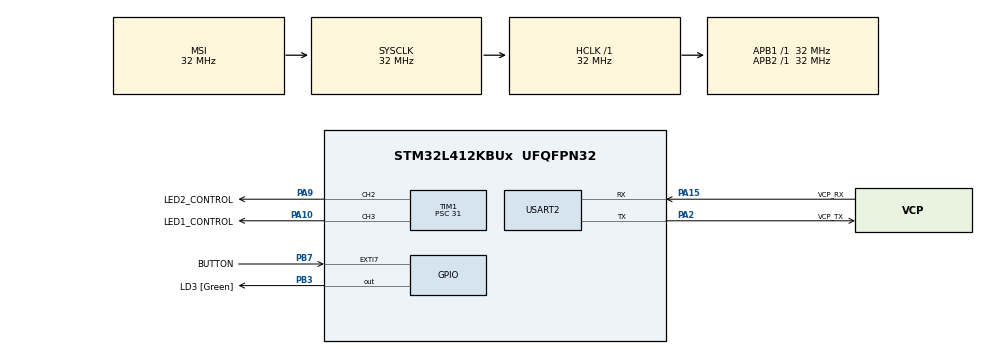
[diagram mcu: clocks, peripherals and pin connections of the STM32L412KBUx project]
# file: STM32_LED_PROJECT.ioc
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Mcu.Family=STM32L4
Mcu.Name=STM32L412KBUx
Mcu.Package=UFQFPN32
NVIC.EXTI9_5_IRQn=true\:0\:0\:false\:false\:true\:true\:true\:true
NVIC.PriorityGroup=NVIC_PRIORITYGROUP_4
NVIC.TIM1_UP_TIM16_IRQn=true\:0\:0\:false\:false\:true\:true\:true\:true
PA10.GPIO_Label=LED1_CONTROL
PA10.Signal=S_TIM1_CH3
PA13\ (JTMS/SWDIO).GPIO_Label=SWDIO
PA13\ (JTMS/SWDIO).Signal=SYS_JTMS-SWDIO
PA14\ (JTCK/SWCLK).GPIO_Label=SWCLK
PA14\ (JTCK/SWCLK).Signal=SYS_JTCK-SWCLK
PA15\ (JTDI).GPIO_Label=VCP_RX
PA15\ (JTDI).Mode=Asynchronous
PA15\ (JTDI).Signal=USART2_RX
PA2.GPIO_Label=VCP_TX
PA2.Mode=Asynchronous
PA2.Signal=USART2_TX
PA9.GPIO_Label=LED2_CONTROL
PA9.Signal=S_TIM1_CH2
PB3\ (JTDO/TRACESWO).GPIO_Label=LD3 [Green]
PB3\ (JTDO/TRACESWO).Signal=GPIO_Output
PB7.GPIO_Label=BUTTON
PB7.GPIO_ModeDefaultEXTI=GPIO_MODE_IT_RISING_FALLING
PB7.GPIO_PuPd=GPIO_PULLUP
PB7.Signal=GPXTI7
PC14-OSC32_IN\ (PC14).Signal=RCC_OSC32_IN
PC15-OSC32_OUT\ (PC15).Signal=RCC_OSC32_OUT
ProjectManager.HeapSize=0x200
ProjectManager.StackSize=0x400
ProjectManager.TargetToolchain=STM32CubeIDE
RCC.ADCFreq_Value=32000000
RCC.AHBFreq_Value=32000000
RCC.APB1Freq_Value=32000000
RCC.APB1TimFreq_Value=32000000
RCC.APB2Freq_Value=32000000
RCC.APB2TimFreq_Value=32000000
RCC.CortexFreq_Value=32000000
RCC.FLatency=FLASH_LATENCY_1
RCC.HCLKFreq_Value=32000000
RCC.HSE_VALUE=8000000
RCC.HSI48_VALUE=48000000
RCC.HSICalibrationValue=16
RCC.HSI_VALUE=16000000
RCC.LSE_VALUE=32768
RCC.MSIClockRange=RCC_MSIRANGE_10
RCC.MSI_VALUE=32000000
RCC.SYSCLKFreq_VALUE=32000000
RCC.USBFreq_Value=32000000
RCC.VCOOutputFreq_Value=256000000
SH.S_TIM1_CH2.0=TIM1_CH2,PWM Generation2 CH2
SH.S_TIM1_CH3.0=TIM1_CH3,PWM Generation3 CH3
TIM1.AutoReloadPreload=TIM_AUTORELOAD_PRELOAD_ENABLE
TIM1.Channel-PWM\ Generation2\ CH2=TIM_CHANNEL_2
TIM1.Channel-PWM\ Generation3\ CH3=TIM_CHANNEL_3
TIM1.Period=1000
TIM1.Prescaler=31
USART2.VirtualMode-Asynchronous=VM_ASYNC
VP_TIM1_VS_ClockSourceINT.Mode=Internal
board=NUCLEO-L412KB

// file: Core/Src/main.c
/* USER CODE BEGIN Header */
/**
  ******************************************************************************
  * @file           : main.c
  * @brief          : Main program body
  ******************************************************************************
  * @attention
  *
  * Copyright (c) 2021 STMicroelectronics.
  * All rights reserved.
  *
  * This software is licensed under terms that can be found in the LICENSE file
  * in the root directory of this software component.
  * If no LICENSE file comes with this software, it is provided AS-IS.
  *
  ******************************************************************************
  */
/* USER CODE END Header */
#include "main.h"

/* USER CODE BEGIN PTD */
typedef enum{
    TERMINATE = 't',
    FAST = 'f',
    SLOW = 's'
} LED_MODE;
/* USER CODE END PTD */

TIM_HandleTypeDef htim1;

UART_HandleTypeDef huart2;

void SystemClock_Config(void);
static void MX_GPIO_Init(void);
static void MX_TIM1_Init(void);
static void MX_USART2_UART_Init(void);

/* USER CODE BEGIN 0 */
uint16_t timer_value1, timer_value2;
LED_MODE led_mode;
/* USER CODE END 0 */

int main(void)
{

  /* MCU Configuration--------------------------------------------------------*/

  /* Reset of all peripherals, Initializes the Flash interface and the Systick. */
  HAL_Init();

  /* Configure the system clock */
  SystemClock_Config();

  /* Initialize all configured peripherals */
  MX_GPIO_Init();
  MX_TIM1_Init();
  MX_USART2_UART_Init();
  /* USER CODE BEGIN 2 */
  uint8_t text_uart[] = "command received   ";
  uint8_t uart_received_data[10];
  HAL_StatusTypeDef hal_receive_status;
  //	command t - terminate, s - slow, f - fast,
  /* USER CODE END 2 */

  /* Infinite loop */
  /* USER CODE BEGIN WHILE */
  while (1)
  {
	  hal_receive_status = HAL_UART_Receive(&huart2, uart_received_data, 10, 100);
	  if (hal_receive_status == HAL_OK)
	  {
		  led_mode = uart_received_data[8];
		  text_uart[17] = led_mode;
		  HAL_UART_Transmit(&huart2, text_uart, sizeof(text_uart), 100);
	  }
    /* USER CODE END WHILE */

  }
}

void SystemClock_Config(void)
{
  RCC_OscInitTypeDef RCC_OscInitStruct = {0};
  RCC_ClkInitTypeDef RCC_ClkInitStruct = {0};

  /** Configure the main internal regulator output voltage
  */
  if (HAL_PWREx_ControlVoltageScaling(PWR_REGULATOR_VOLTAGE_SCALE1) != HAL_OK)
  {
    Error_Handler();
  }
  /** Initializes the RCC Oscillators according to the specified parameters
  * in the RCC_OscInitTypeDef structure.
  */
  RCC_OscInitStruct.OscillatorType = RCC_OSCILLATORTYPE_MSI;
  RCC_OscInitStruct.MSIState = RCC_MSI_ON;
  RCC_OscInitStruct.MSICalibrationValue = 0;
  RCC_OscInitStruct.MSIClockRange = RCC_MSIRANGE_10;
  RCC_OscInitStruct.PLL.PLLState = RCC_PLL_NONE;
  if (HAL_RCC_OscConfig(&RCC_OscInitStruct) != HAL_OK)
  {
    Error_Handler();
  }
  /** Initializes the CPU, AHB and APB buses clocks
  */
  RCC_ClkInitStruct.ClockType = RCC_CLOCKTYPE_HCLK|RCC_CLOCKTYPE_SYSCLK
                              |RCC_CLOCKTYPE_PCLK1|RCC_CLOCKTYPE_PCLK2;
  RCC_ClkInitStruct.SYSCLKSource = RCC_SYSCLKSOURCE_MSI;
  RCC_ClkInitStruct.AHBCLKDivider = RCC_SYSCLK_DIV1;
  RCC_ClkInitStruct.APB1CLKDivider = RCC_HCLK_DIV1;
  RCC_ClkInitStruct.APB2CLKDivider = RCC_HCLK_DIV1;

  if (HAL_RCC_ClockConfig(&RCC_ClkInitStruct, FLASH_LATENCY_1) != HAL_OK)
  {
    Error_Handler();
  }
}

static void MX_TIM1_Init(void)
{

  TIM_ClockConfigTypeDef sClockSourceConfig = {0};
  TIM_MasterConfigTypeDef sMasterConfig = {0};
  TIM_OC_InitTypeDef sConfigOC = {0};
  TIM_BreakDeadTimeConfigTypeDef sBreakDeadTimeConfig = {0};

  htim1.Instance = TIM1;
  htim1.Init.Prescaler = 31;
  htim1.Init.CounterMode = TIM_COUNTERMODE_UP;
  htim1.Init.Period = 1000;
  htim1.Init.ClockDivision = TIM_CLOCKDIVISION_DIV1;
  htim1.Init.RepetitionCounter = 9;
  htim1.Init.AutoReloadPreload = TIM_AUTORELOAD_PRELOAD_ENABLE;
  if (HAL_TIM_Base_Init(&htim1) != HAL_OK)
  {
    Error_Handler();
  }
  sClockSourceConfig.ClockSource = TIM_CLOCKSOURCE_INTERNAL;
  if (HAL_TIM_ConfigClockSource(&htim1, &sClockSourceConfig) != HAL_OK)
  {
    Error_Handler();
  }
  if (HAL_TIM_PWM_Init(&htim1) != HAL_OK)
  {
    Error_Handler();
  }
  sMasterConfig.MasterOutputTrigger = TIM_TRGO_RESET;
  sMasterConfig.MasterOutputTrigger2 = TIM_TRGO2_RESET;
  sMasterConfig.MasterSlaveMode = TIM_MASTERSLAVEMODE_DISABLE;
  if (HAL_TIMEx_MasterConfigSynchronization(&htim1, &sMasterConfig) != HAL_OK)
  {
    Error_Handler();
  }
  sConfigOC.OCMode = TIM_OCMODE_PWM1;
  sConfigOC.Pulse = 0;
  sConfigOC.OCPolarity = TIM_OCPOLARITY_HIGH;
  sConfigOC.OCNPolarity = TIM_OCNPOLARITY_HIGH;
  sConfigOC.OCFastMode = TIM_OCFAST_DISABLE;
  sConfigOC.OCIdleState = TIM_OCIDLESTATE_RESET;
  sConfigOC.OCNIdleState = TIM_OCNIDLESTATE_RESET;
  if (HAL_TIM_PWM_ConfigChannel(&htim1, &sConfigOC, TIM_CHANNEL_2) != HAL_OK)
  {
    Error_Handler();
  }
  if (HAL_TIM_PWM_ConfigChannel(&htim1, &sConfigOC, TIM_CHANNEL_3) != HAL_OK)
  {
    Error_Handler();
  }
  sBreakDeadTimeConfig.OffStateRunMode = TIM_OSSR_DISABLE;
  sBreakDeadTimeConfig.OffStateIDLEMode = TIM_OSSI_DISABLE;
  sBreakDeadTimeConfig.LockLevel = TIM_LOCKLEVEL_OFF;
  sBreakDeadTimeConfig.DeadTime = 0;
  sBreakDeadTimeConfig.BreakState = TIM_BREAK_DISABLE;
  sBreakDeadTimeConfig.BreakPolarity = TIM_BREAKPOLARITY_HIGH;
  sBreakDeadTimeConfig.BreakFilter = 0;
  sBreakDeadTimeConfig.Break2State = TIM_BREAK2_DISABLE;
  sBreakDeadTimeConfig.Break2Polarity = TIM_BREAK2POLARITY_HIGH;
  sBreakDeadTimeConfig.Break2Filter = 0;
  sBreakDeadTimeConfig.AutomaticOutput = TIM_AUTOMATICOUTPUT_DISABLE;
  if (HAL_TIMEx_ConfigBreakDeadTime(&htim1, &sBreakDeadTimeConfig) != HAL_OK)
  {
    Error_Handler();
  }
  /* USER CODE BEGIN TIM1_Init 2 */
  HAL_TIM_Base_Start_IT(&htim1);
  HAL_TIM_Base_Start(&htim1);
  HAL_TIM_PWM_Start(&htim1, TIM_CHANNEL_2);
  HAL_TIM_PWM_Start(&htim1, TIM_CHANNEL_3);

  /* USER CODE END TIM1_Init 2 */
  HAL_TIM_MspPostInit(&htim1);

}

static void MX_USART2_UART_Init(void)
{

  huart2.Instance = USART2;
  huart2.Init.BaudRate = 115200;
  huart2.Init.WordLength = UART_WORDLENGTH_8B;
  huart2.Init.StopBits = UART_STOPBITS_1;
  huart2.Init.Parity = UART_PARITY_NONE;
  huart2.Init.Mode = UART_MODE_TX_RX;
  huart2.Init.HwFlowCtl = UART_HWCONTROL_NONE;
  huart2.Init.OverSampling = UART_OVERSAMPLING_16;
  huart2.Init.OneBitSampling = UART_ONE_BIT_SAMPLE_DISABLE;
  huart2.AdvancedInit.AdvFeatureInit = UART_ADVFEATURE_NO_INIT;
  if (HAL_UART_Init(&huart2) != HAL_OK)
  {
    Error_Handler();
  }

}

static void MX_GPIO_Init(void)
{
  GPIO_InitTypeDef GPIO_InitStruct = {0};

  /* GPIO Ports Clock Enable */
  __HAL_RCC_GPIOC_CLK_ENABLE();
  __HAL_RCC_GPIOA_CLK_ENABLE();
  __HAL_RCC_GPIOB_CLK_ENABLE();

  /*Configure GPIO pin Output Level */
  HAL_GPIO_WritePin(LD3_GPIO_Port, LD3_Pin, GPIO_PIN_RESET);

  /*Configure GPIO pin : LD3_Pin */
  GPIO_InitStruct.Pin = LD3_Pin;
  GPIO_InitStruct.Mode = GPIO_MODE_OUTPUT_PP;
  GPIO_InitStruct.Pull = GPIO_NOPULL;
  GPIO_InitStruct.Speed = GPIO_SPEED_FREQ_LOW;
  HAL_GPIO_Init(LD3_GPIO_Port, &GPIO_InitStruct);

  /*Configure GPIO pin : BUTTON_Pin */
  GPIO_InitStruct.Pin = BUTTON_Pin;
  GPIO_InitStruct.Mode = GPIO_MODE_IT_RISING_FALLING;
  GPIO_InitStruct.Pull = GPIO_PULLUP;
  HAL_GPIO_Init(BUTTON_GPIO_Port, &GPIO_InitStruct);

  /* EXTI interrupt init*/
  HAL_NVIC_SetPriority(EXTI9_5_IRQn, 0, 0);
  HAL_NVIC_EnableIRQ(EXTI9_5_IRQn);

}

/* USER CODE BEGIN 4 */
void HAL_GPIO_EXTI_Callback(uint16_t GPIO_Pin)
{
	if(GPIO_Pin == BUTTON_Pin)
	{

	}
}

void HAL_TIM_PeriodElapsedCallback(TIM_HandleTypeDef *htim)
{
	static int16_t channel2_value = 0, channel3_value = 0;
	static int16_t sign2 = 1, sign3 = 1;
	if (htim == &htim1)
	{
		  __HAL_TIM_SET_COMPARE(&htim1, TIM_CHANNEL_2, channel2_value);
		  __HAL_TIM_SET_COMPARE(&htim1, TIM_CHANNEL_3, channel3_value);

		  switch(led_mode)
		  {
		  case TERMINATE:
			  channel2_value = 0;
			  channel3_value = 0;
			  break;
		  case SLOW:
			  channel2_value += 1 * sign2;
			  channel3_value += 1 * sign3;
			  break;
		  case FAST:
			  channel2_value += 10 * sign2;
			  channel3_value += 10 * sign3;
			  break;
		  }
		  if (channel2_value >= 999)
		  {
			  sign2 = -1;
		  }
		  if (channel3_value >= 999)
		  {
			  sign3 = -1;
		  }

		  if (channel2_value <= 0)
		  {
			  sign2 = 1;
		  }
		  if (channel3_value <= 0)
		  {
			  sign3 = 1;
		  }
	}

}
/* USER CODE END 4 */

void Error_Handler(void)
{
  __disable_irq();
  while (1)
  {
  }
}
